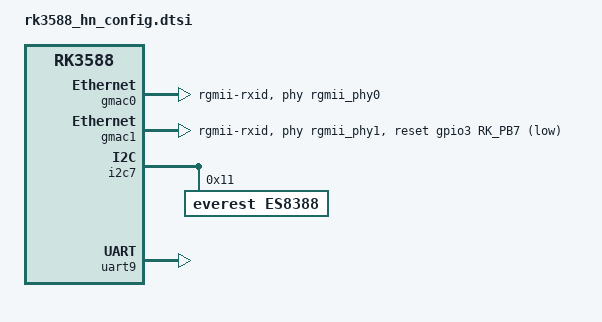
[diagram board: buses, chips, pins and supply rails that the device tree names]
//有线网卡配置
&gmac0 {
	/* Use rgmii-rxid mode to disable rx delay inside Soc */
	phy-mode = "rgmii-rxid";
	clock_in_out = "output";

    /*0918*/
   	//snps,reset-gpio = <&gpio2 RK_PC4 GPIO_ACTIVE_LOW>;
	snps,reset-active-low;
	/* Reset time is 20ms, 100ms for rtl8211f */
	snps,reset-delays-us = <0 20000 100000>;

	pinctrl-names = "default";
	pinctrl-0 = <&gmac0_miim
                     &gmac0_tx_bus2
                     &gmac0_rx_bus2
                     &gmac0_rgmii_clk
                     &gmac0_rgmii_bus>;
	tx_delay = <0x44>;
	/* rx_delay = <0x4f>; */

	phy-handle = <&rgmii_phy0>;
	status = "okay";
};

&gmac1 {
	/* Use rgmii-rxid mode to disable rx delay inside Soc */
	phy-mode = "rgmii-rxid";
	clock_in_out = "output";

    /*0918*/
	snps,reset-gpio = <&gpio3 RK_PB7 GPIO_ACTIVE_LOW>;
	snps,reset-active-low;
    snps,reset-delays-us = <0 500000 100000>;

	pinctrl-names = "default";
    
	pinctrl-0 = <&gmac1_miim
		     &gmac1_tx_bus2
		     &gmac1_rx_bus2
		     &gmac1_rgmii_clk
		     &gmac1_rgmii_bus>;

	tx_delay = <0x43>;
	/* rx_delay = <0x3f>; */

	phy-handle = <&rgmii_phy1>;
	status = "okay";
};

//声卡配置

&i2c7 {
	status = "okay";
	es8388: es8388@11 {
		status = "okay";
		#sound-dai-cells = <0>;
		compatible = "everest,es8388", "everest,es8323";
		reg = <0x11>;
		clocks = <&cru I2S0_8CH_MCLKOUT>;
		clock-names = "mclk";
		assigned-clocks = <&cru I2S0_8CH_MCLKOUT>;
		assigned-clock-rates = <12288000>;
		pinctrl-names = "default";
		pinctrl-0 = <&i2s0_mclk>;
	};
};

//can
&can0 {
	status = "disable";
	compatible = "rockchip,canfd-1.0"; //使用canfd
	pinctrl-0 = <&can0m0_pins>;
	assigned-clocks = <&cru CLK_CAN0>;
	assigned-clock-rates = <200000000>;
};
/*
&can1 {
	status = "disable";
	compatible = "rockchip,canfd-1.0"; //使用canfd
	pinctrl-0 = <&can1m1_pins>;
	assigned-clocks = <&cru CLK_CAN1>;
	assigned-clock-rates = <200000000>;
};

&can2 {
	status = "okay";
	compatible = "rockchip,canfd-1.0"; //使用canfd
	pinctrl-0 = <&can2m0_pins>;
	assigned-clocks = <&cru CLK_CAN2>;
	assigned-clock-rates = <200000000>;
};
*/

/*
//485
&uart0 {
	status = "disable";
//	dma-names = "tx", "rx"; //使用dma传输模式
	pinctrl-names = "default";
	pinctrl-0 = <&uart0m2_xfer>;
};

&uart7 {
	status = "disable";
//	dma-names = "tx", "rx"; //使用dma传输模式
	pinctrl-names = "default";
	pinctrl-0 = <&uart7m1_xfer>;
};

&uart8 {
	status = "disable";
//	dma-names = "tx", "rx"; //使用dma传输模式
	pinctrl-names = "default";
	pinctrl-0 = <&uart8m0_xfer>;
};
*/
&uart9 {
	status = "okay";
	dma-names = "tx", "rx"; //使用dma传输模式
	pinctrl-names = "default";
	pinctrl-0 = <&uart9m1_xfer>;
};





